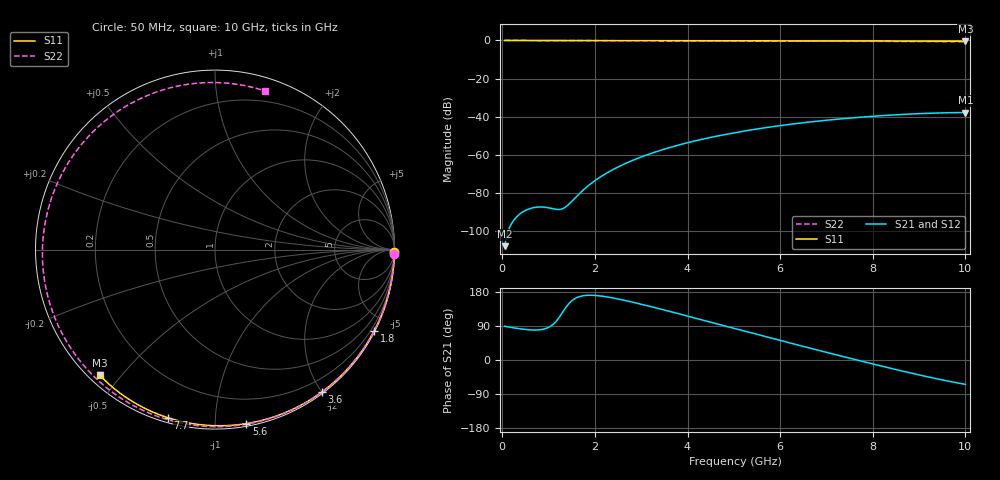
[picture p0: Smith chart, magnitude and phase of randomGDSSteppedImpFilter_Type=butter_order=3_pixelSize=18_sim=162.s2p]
! freq	dB(S11)	phase(S11)	dB(S12)	phase(S12)
!  dB(S21)	phase(S21)	dB(S22)	phase(S22)
!S-par simulation data
#  GHz  S  DB  R 50
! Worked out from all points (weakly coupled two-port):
!   200 points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, 50 MHz to 10 GHz, reference 50 ohm
!   highest |S21| = -37.76 dB at 10 GHz (marker M1); lowest = -107.8 dB at 50 MHz (marker M2)
!   lowest |S11| = -0.4 dB at 10 GHz (marker M3), VSWR 38.65, Z = 1.54 - j21.9 ohm
!   |S11| at or under -10 dB: nowhere
!   |S22| runs from -0.7 to 0.0 dB; largest |S21 - S12| = 0
!   S11 on the Smith chart (normalised r, x): 50 MHz: open; 1.8 GHz: 0.04, -4.15; 3.6 GHz: 0.02, -2.01; 5.6 GHz: 0.02, -1.20; 7.7 GHz: 0.02, -0.76; 10 GHz: 0.03, -0.44
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0.05  -0.00 -0.8  -107.80 89.1  -107.80 89.1  -0.00 -1.4
0.8  -0.01 -12.2  -87.26 79.6  -87.26 79.6  -0.03 -22.8
1.65  -0.03 -24.9  -80.60 166.7  -80.60 166.7  -0.06 -46.5
1.75  -0.03 -26.4  -78.31 169.7  -78.31 169.7  -0.06 -49.2
1.8  -0.03 -27.1  -77.25 170.4  -77.25 170.4  -0.06 -50.6
2.1  -0.04 -31.5  -71.81 169.3  -71.81 169.3  -0.07 -58.8
2.45  -0.05 -36.6  -66.91 162.3  -66.91 162.3  -0.09 -68.1
2.9  -0.06 -43.1  -62.01 150.1  -62.01 150.1  -0.10 -80.0
3.4  -0.07 -50.2  -57.70 135.0  -57.70 135.0  -0.12 -93.0
3.6  -0.07 -53.0  -56.23 128.8  -56.23 128.8  -0.13 -98.1
4.3  -0.09 -62.6  -51.85 106.2  -51.85 106.2  -0.16 -115.9
5.05  -0.11 -72.6  -48.24 82.2  -48.24 82.2  -0.21 -134.9
5.6  -0.13 -79.8  -46.01 64.5  -46.01 64.5  -0.24 -149.0
6.15  -0.15 -86.8  -44.15 46.9  -44.15 46.9  -0.29 -163.4
6.7  -0.18 -93.6  -42.57 29.5  -42.57 29.5  -0.34 -178.3
7.2  -0.21 -99.7  -41.34 14.0  -41.34 14.0  -0.38 167.5
7.7  -0.24 -105.7  -40.29 -1.4  -40.29 -1.4  -0.44 152.6
8.35  -0.29 -113.3  -39.17 -20.8  -39.17 -20.8  -0.50 131.9
8.8  -0.33 -118.6  -38.57 -33.8  -38.57 -33.8  -0.55 116.6
9.2  -0.36 -123.2  -38.16 -44.8  -38.16 -44.8  -0.59 102.4
9.6  -0.40 -127.9  -37.89 -55.0  -37.89 -55.0  -0.63 87.6
10  -0.45 -132.6  -37.76 -64.4  -37.76 -64.4  -0.66 72.6
